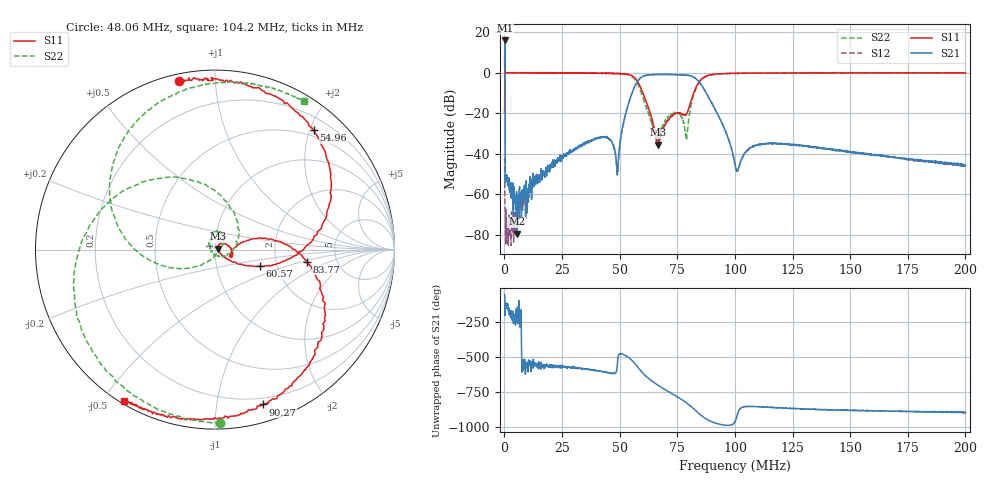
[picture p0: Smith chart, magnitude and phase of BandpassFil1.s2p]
! 19-Feb-26 1:10:40 PM
! E:\VNA_MEASUREMENTS\RECBLOCK\BANDPASSFIL1.S2P
! CHANNEL.1
! TR.MEASUREMENT
! CORRECTED.DATA
# GHZ S RI R 50.0
! FREQ.GHZ  S11RE  S11IM  S21RE  S21IM  S12RE  S12IM  S22RE  S22IM
!; PortSelection: Port_12
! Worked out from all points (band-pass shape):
!   2000 points, 50 kHz to 200 MHz, reference 50 ohm
!   highest |S21| = 15.92 dB at 150 kHz (marker M1); lowest = -79.4 dB at 5.351 MHz (marker M2)
!   |S21| within 3 dB of the highest: 125.5 kHz to 172.5 kHz (47 kHz wide, 31.5 % of centre)
!   lowest |S11| = -35.5 dB at 66.67 MHz (marker M3), VSWR 1.03, Z = 51.6 + j0.475 ohm
!   |S11| at or under -10 dB: start of sweep to 129 kHz; 60.03 MHz to 82.09 MHz (22.06 MHz wide, 31 % of centre)
!   |S22| runs from -34.2 to 0.1 dB; largest |S21 - S12| = 6.3
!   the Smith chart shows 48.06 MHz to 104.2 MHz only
!   S11 on the Smith chart (normalised r, x): 48.06 MHz: 0.03, +0.81; 54.96 MHz: 0.40, +2.06; 60.57 MHz: 1.62, -0.33; 83.77 MHz: 3.02, -0.55; 90.27 MHz: 0.14, -1.35; 104.2 MHz: 0.01, -0.57
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5e-05  -0.1008 -0.0331  0.9168 -1.219  0.00576 0.00533  0.99 -0.000592
0.000150025  -0.3929 -0.156  2.238 -5.84  0.00115 0.000713  1.009 0.00406
0.001350325  -0.9956 0.0257  -0.000727 -0.00144  -0.000145 -9e-07  1.003 -0.0199
0.005351326  -0.9932 0.0841  -0.000102 3.05e-05  -0.000373 0.000136  0.9976 -0.0823
0.03345835  -0.7693 0.6057  -0.0125 0.0094  -0.0125 0.0104  0.7762 -0.625
0.04416103  -0.4287 0.849  -0.00954 0.0228  -0.00974 0.0231  0.3555 -0.9167
0.04806201  -0.203 0.9375  -0.00264 0.0104  -0.00309 0.0102  0.0283 -0.9656
0.04936233  -0.0909 0.9443  -0.00488 -0.00451  -0.00436 -0.00392  -0.1174 -0.9509
0.05496373  0.5501 0.6647  -0.2542 -0.1069  -0.2523 -0.1041  -0.7828 -0.243
0.05776443  0.5914 0.1161  -0.5421 0.3037  -0.5415 0.3015  -0.3543 0.3896
0.06056513  0.2496 -0.0931  -0.1118 0.8252  -0.1138 0.8281  0.1218 0.161
0.06666666  0.0161 0.0046  0.8494 0.295  0.8511 0.3002  -0.0189 -0.00493
0.06676668  0.0157 0.00714  0.8609 0.2781  0.8617 0.2842  -0.0203 0.000519
0.07666916  0.0893 -0.0423  0.1617 -0.8667  0.1572 -0.8755  0.0476 0.072
0.07906976  0.0978 -0.00376  -0.2487 -0.8322  -0.2463 -0.8328  0.0134 -0.019
0.08377094  0.5113 -0.067  -0.6483 -0.0875  -0.6493 -0.0919  -0.4913 0.0493
0.09027256  0.2684 -0.8625  -0.0758 0.146  -0.0774 0.1466  -0.2354 0.8636
0.100075  -0.367 -0.9002  -0.00268 0.00445  -0.00256 0.00458  0.3672 0.8832
0.104176  -0.5067 -0.8422  -0.00687 -0.00756  -0.00674 -0.00709  0.4975 0.8276
0.1333833  -0.8805 -0.4521  -0.013 -0.0073  -0.0128 -0.00762  0.8427 0.4968
0.1666917  -0.9703 -0.1971  -0.008 -0.00245  -0.0083 -0.00194  0.9378 0.2943
0.2  -0.9891 -0.0375  -0.00504 -0.000439  -0.00512 -0.000698  0.972 0.1648
